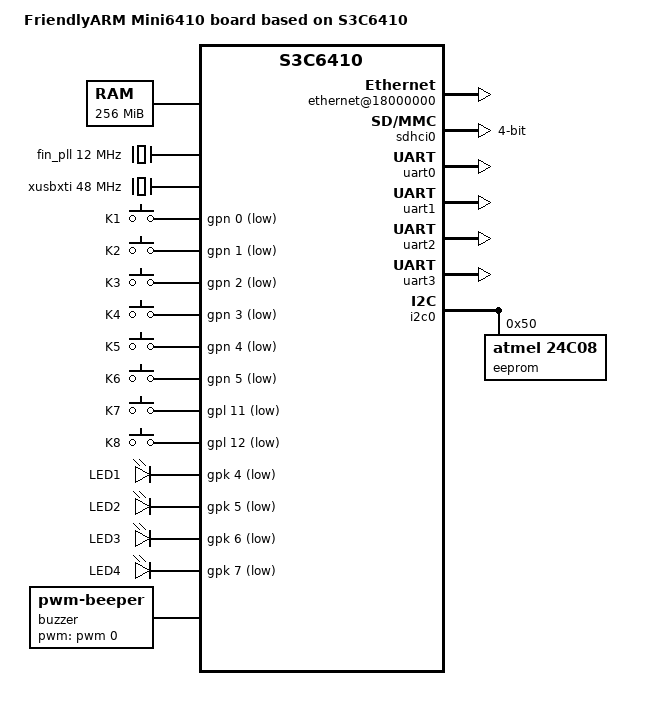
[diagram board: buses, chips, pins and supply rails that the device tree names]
// SPDX-License-Identifier: GPL-2.0
/*
 * Samsung's S3C6410 based Mini6410 board device tree source
 *
 * Copyright (c) 2013 Tomasz Figa <tomasz.figa@gmail.com>
 *
 * Device tree source file for FriendlyARM Mini6410 board which is based on
 * Samsung's S3C6410 SoC.
 */

/dts-v1/;

#include <dt-bindings/gpio/gpio.h>
#include <dt-bindings/interrupt-controller/irq.h>

#include "s3c6410.dtsi"

/ {
	model = "FriendlyARM Mini6410 board based on S3C6410";
	compatible = "friendlyarm,mini6410", "samsung,s3c6410";

	memory {
		reg = <0x50000000 0x10000000>;
	};

	chosen {
		bootargs = "console=ttySAC0,115200n8 earlyprintk rootwait root=/dev/mmcblk0p1";
	};

	clocks {
		compatible = "simple-bus";
		#address-cells = <1>;
		#size-cells = <0>;

		fin_pll: oscillator@0 {
			compatible = "fixed-clock";
			reg = <0>;
			clock-frequency = <12000000>;
			clock-output-names = "fin_pll";
			#clock-cells = <0>;
		};

		xusbxti: oscillator@1 {
			compatible = "fixed-clock";
			reg = <1>;
			clock-output-names = "xusbxti";
			clock-frequency = <48000000>;
			#clock-cells = <0>;
		};
	};

	srom-cs1@18000000 {
		compatible = "simple-bus";
		#address-cells = <1>;
		#size-cells = <1>;
		reg = <0x18000000 0x8000000>;
		ranges;

		ethernet@18000000 {
			compatible = "davicom,dm9000";
			reg = <0x18000000 0x2 0x18000004 0x2>;
			interrupt-parent = <&gpn>;
			interrupts = <7 IRQ_TYPE_LEVEL_HIGH>;
			davicom,no-eeprom;
		};
	};

	gpio-keys {
		compatible = "gpio-keys";
		pinctrl-names = "default";
		pinctrl-0 = <&gpio_keys>;
		autorepeat;

		button-k1 {
			label = "K1";
			gpios = <&gpn 0 GPIO_ACTIVE_LOW>;
			linux,code = <2>;
			debounce-interval = <20>;
		};

		button-k2 {
			label = "K2";
			gpios = <&gpn 1 GPIO_ACTIVE_LOW>;
			linux,code = <3>;
			debounce-interval = <20>;
		};

		button-k3 {
			label = "K3";
			gpios = <&gpn 2 GPIO_ACTIVE_LOW>;
			linux,code = <4>;
			debounce-interval = <20>;
		};

		button-k4 {
			label = "K4";
			gpios = <&gpn 3 GPIO_ACTIVE_LOW>;
			linux,code = <5>;
			debounce-interval = <20>;
		};

		button-k5 {
			label = "K5";
			gpios = <&gpn 4 GPIO_ACTIVE_LOW>;
			linux,code = <6>;
			debounce-interval = <20>;
		};

		button-k6 {
			label = "K6";
			gpios = <&gpn 5 GPIO_ACTIVE_LOW>;
			linux,code = <7>;
			debounce-interval = <20>;
		};

		button-k7 {
			label = "K7";
			gpios = <&gpl 11 GPIO_ACTIVE_LOW>;
			linux,code = <8>;
			debounce-interval = <20>;
		};

		button-k8 {
			label = "K8";
			gpios = <&gpl 12 GPIO_ACTIVE_LOW>;
			linux,code = <9>;
			debounce-interval = <20>;
		};
	};

	leds {
		compatible = "gpio-leds";
		pinctrl-names = "default";
		pinctrl-0 = <&gpio_leds>;

		led-1 {
			label = "LED1";
			gpios = <&gpk 4 GPIO_ACTIVE_LOW>;
			linux,default-trigger = "heartbeat";
		};

		led-2 {
			label = "LED2";
			gpios = <&gpk 5 GPIO_ACTIVE_LOW>;
			linux,default-trigger = "mmc0";
		};

		led-3 {
			label = "LED3";
			gpios = <&gpk 6 GPIO_ACTIVE_LOW>;
		};

		led-4 {
			label = "LED4";
			gpios = <&gpk 7 GPIO_ACTIVE_LOW>;
		};
	};

	buzzer {
		compatible = "pwm-beeper";
		pwms = <&pwm 0 1000000 0>;
		pinctrl-names = "default";
		pinctrl-0 = <&pwm0_out>;
	};
};

&sdhci0 {
	pinctrl-names = "default";
	pinctrl-0 = <&sd0_clk>, <&sd0_cmd>, <&sd0_cd>, <&sd0_bus4>;
	bus-width = <4>;
	status = "okay";
};

&uart0 {
	pinctrl-names = "default";
	pinctrl-0 = <&uart0_data>;
	status = "okay";
};

&uart1 {
	pinctrl-names = "default";
	pinctrl-0 = <&uart1_data>, <&uart1_fctl>;
	status = "okay";
};

&uart2 {
	pinctrl-names = "default";
	pinctrl-0 = <&uart2_data>;
	status = "okay";
};

&uart3 {
	pinctrl-names = "default";
	pinctrl-0 = <&uart3_data>;
	status = "okay";
};

&pinctrl0 {
	gpio_leds: gpio-leds {
		samsung,pins = "gpk-4", "gpk-5", "gpk-6", "gpk-7";
		samsung,pin-pud = <S3C64XX_PIN_PULL_NONE>;
	};

	gpio_keys: gpio-keys {
		samsung,pins = "gpn-0", "gpn-1", "gpn-2", "gpn-3",
				"gpn-4", "gpn-5", "gpl-11", "gpl-12";
		samsung,pin-pud = <S3C64XX_PIN_PULL_NONE>;
	};
};

&i2c0 {
	pinctrl-names = "default";
	pinctrl-0 = <&i2c0_bus>;
	status = "okay";

	eeprom@50 {
		compatible = "atmel,24c08";
		reg = <0x50>;
		pagesize = <16>;
	};
};
